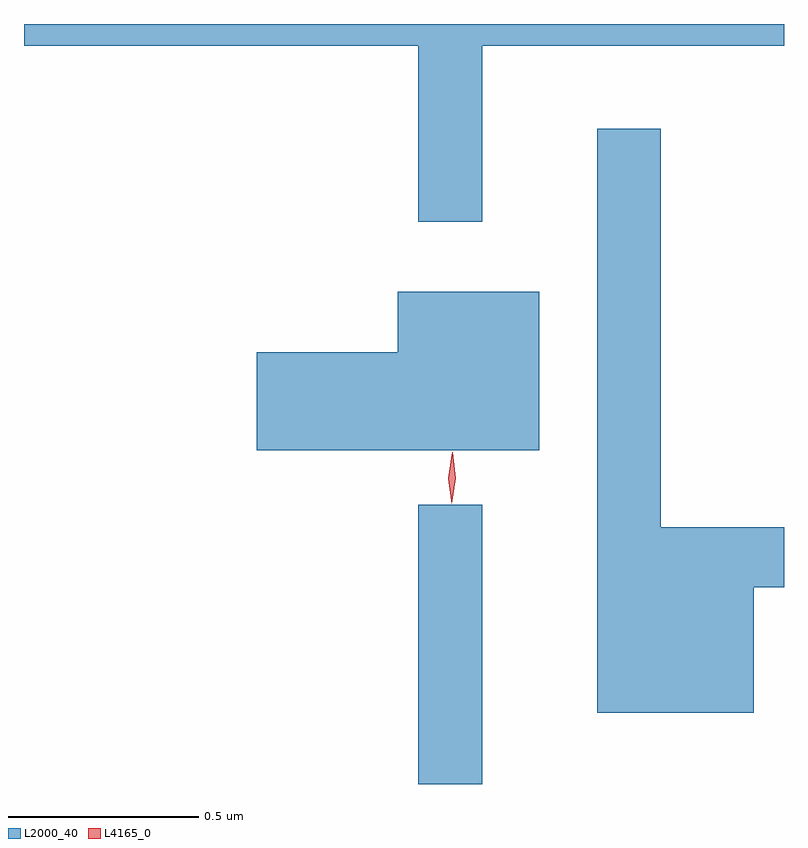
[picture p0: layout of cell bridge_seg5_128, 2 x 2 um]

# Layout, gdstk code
import gdstk
lib = gdstk.Library(unit=1e-6, precision=1e-09)
def R(c, l, rs):  # rectangles x0, y0, x1, y1
    for r in rs: c.add(gdstk.rectangle(r[:2], r[2:], *l))
def P(c, l, *ps):  # polygons
    for p in ps: c.add(gdstk.Polygon(p, *l))
L2000_40 = (2000, 40)
L4165_0 = (4165, 0)

bridge_seg5_128 = lib.new_cell('bridge_seg5_128')
R(bridge_seg5_128, L2000_40, [(1021.951,1483.713,1022.119,1484.448)])
P(bridge_seg5_128, L2000_40, [(1022.119,1485.656),(1022.913,1485.656),(1022.913,1485.713),(1020.913,1485.713),(1020.913,1485.656),(1021.951,1485.656),(1021.951,1485.193),(1022.119,1485.193)],
  [(1022.834,1484.231),(1022.913,1484.231),(1022.913,1484.389),(1022.589,1484.389),(1022.589,1485.438),(1022.421,1485.438),(1022.421,1483.901),(1022.834,1483.901)],
  [(1022.269,1485.009),(1021.896,1485.009),(1021.896,1484.849),(1021.526,1484.849),(1021.526,1484.591),(1022.269,1484.591)])
P(bridge_seg5_128, L4165_0, [(1022.038,1484.45),(1022.029,1484.518),(1022.04,1484.586),(1022.04,1484.586),(1022.041,1484.586),(1022.049,1484.518),(1022.039,1484.45),(1022.039,1484.45)],
  [(1022.039,1484.453),(1022.038,1484.454),(1022.029,1484.516),(1022.038,1484.579),(1022.039,1484.58),(1022.039,1484.579),(1022.049,1484.516),(1022.039,1484.454)])

lib.write_gds('bridge_seg5_128.gds')
